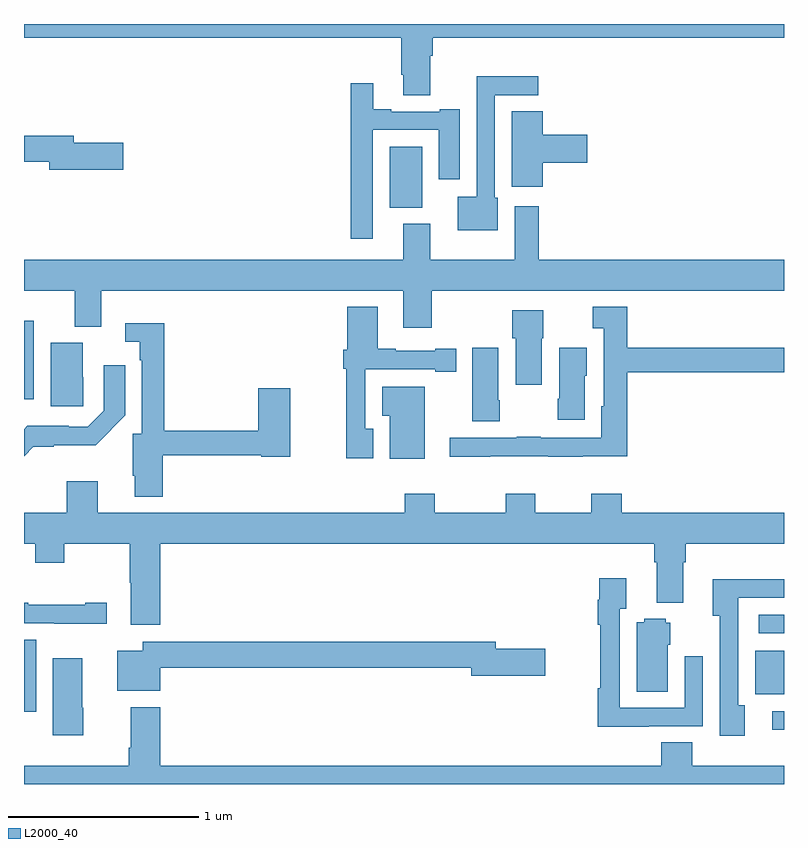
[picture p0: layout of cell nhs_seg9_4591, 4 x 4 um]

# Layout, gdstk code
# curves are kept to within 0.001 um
import gdstk
lib = gdstk.Library(unit=1e-6, precision=1e-09)
def R(c, l, rs):  # rectangles x0, y0, x1, y1
    for r in rs: c.add(gdstk.rectangle(r[:2], r[2:], *l))
def P(c, l, *ps):  # polygons
    for p in ps: c.add(gdstk.Polygon(p, *l))
L2000_40 = (2000, 40)

nhs_seg9_4591 = lib.new_cell('nhs_seg9_4591')
R(nhs_seg9_4591, L2000_40, [(378.939,1184.786,379,1184.883), (375,1184.88,375.064,1185.26), (378.848,1184.973,379,1185.201), (378.867,1185.294,379,1185.39), (375,1186.524,375.052,1186.939), (376.925,1187.534,377.095,1187.854)])
P(nhs_seg9_4591, L2000_40, [(377.137,1188.332),(377.15,1188.332),(377.15,1188.428),(379,1188.428),(379,1188.5),(375,1188.5),(375,1188.428),(376.985,1188.428),(376.985,1188.232),(376.997,1188.232),(376.997,1188.124),(377.137,1188.124)],
  [(377.494,1187.586),(377.478,1187.586),(377.478,1188.126),(377.707,1188.126),(377.707,1188.224),(377.382,1188.224),(377.382,1187.59),(377.282,1187.59),(377.282,1187.414),(377.494,1187.414)],
  [(376.836,1187.943),(377.183,1187.943),(377.183,1187.682),(377.293,1187.682),(377.293,1188.052),(377.189,1188.052),(377.189,1188.039),(376.933,1188.039),(376.933,1188.052),(376.837,1188.052),(376.837,1188.187),(376.72,1188.187),(376.72,1187.37),(376.836,1187.37)],
  [(377.729,1187.771),(377.965,1187.771),(377.965,1187.918),(377.729,1187.918),(377.729,1188.041),(377.567,1188.041),(377.567,1187.643),(377.729,1187.643)],
  [(375.523,1187.876),(375.262,1187.876),(375.262,1187.912),(375,1187.912),(375,1187.776),(375.134,1187.776),(375.134,1187.734),(375.523,1187.734)],
  [(377.145,1187.096),(379,1187.096),(379,1187.26),(377.708,1187.26),(377.708,1187.542),(377.582,1187.542),(377.582,1187.26),(377.137,1187.26),(377.137,1187.449),(376.997,1187.449),(376.997,1187.26),(375,1187.26),(375,1187.096),(375.266,1187.096),(375.266,1186.907),(375.406,1186.907),(375.406,1187.096),(376.997,1187.096),(376.997,1186.902),(377.145,1186.902)],
  [(377.453,1186.226),(377.759,1186.226),(377.759,1186.222),(377.942,1186.222),(377.942,1186.226),(378.176,1186.226),(378.176,1186.666),(379,1186.666),(379,1186.795),(378.176,1186.795),(378.176,1187.011),(377.994,1187.011),(377.994,1186.898),(378.05,1186.898),(378.05,1186.488),(378.038,1186.488),(378.038,1186.323),(377.72,1186.323),(377.72,1186.328),(377.593,1186.328),(377.593,1186.323),(377.241,1186.323),(377.241,1186.222),(377.453,1186.222)],
  [(376.837,1186.371),(376.797,1186.371),(376.797,1186.683),(377.165,1186.683),(377.165,1186.671),(377.275,1186.671),(377.275,1186.792),(377.165,1186.792),(377.165,1186.779),(376.957,1186.779),(376.957,1186.792),(376.861,1186.792),(376.861,1187.011),(376.7,1187.011),(376.7,1186.786),(376.681,1186.786),(376.681,1186.686),(376.696,1186.686),(376.696,1186.215),(376.837,1186.215)],
  [(377.725,1186.845),(377.734,1186.845),(377.734,1186.993),(377.569,1186.993),(377.569,1186.845),(377.588,1186.845),(377.588,1186.602),(377.725,1186.602)],
  [(375.731,1186.23),(376.248,1186.23),(376.248,1186.222),(376.402,1186.222),(376.402,1186.582),(376.232,1186.582),(376.232,1186.358),(375.737,1186.358),(375.737,1186.924),(375.534,1186.924),(375.534,1186.827),(375.609,1186.827),(375.609,1186.73),(375.621,1186.73),(375.621,1186.344),(375.572,1186.344),(375.572,1186.123),(375.584,1186.123),(375.584,1186.013),(375.731,1186.013)],
  [(375.312,1186.641),(375.31,1186.641),(375.31,1186.822),(375.14,1186.822),(375.14,1186.488),(375.312,1186.488)],
  [(377.95,1186.65),(377.962,1186.65),(377.962,1186.795),(377.816,1186.795),(377.816,1186.528),(377.809,1186.528),(377.809,1186.416),(377.95,1186.416)],
  [(377.505,1186.519),(377.497,1186.519),(377.497,1186.795),(377.36,1186.795),(377.36,1186.408),(377.505,1186.408)],
  [(375.049,1186.275),(375.157,1186.275),(375.157,1186.283),(375.377,1186.283),(375.532,1186.44),(375.532,1186.705),(375.42,1186.705),(375.42,1186.464),(375.336,1186.38),(375.236,1186.38),(375.236,1186.385),(375.017,1186.385),(375,1186.368),(375,1186.226)],
  [(377.11,1186.591),(376.886,1186.591),(376.886,1186.439),(376.925,1186.439),(376.925,1186.211),(377.11,1186.211)],
  [(378.317,1185.668),(378.329,1185.668),(378.329,1185.455),(378.469,1185.455),(378.469,1185.668),(378.482,1185.668),(378.482,1185.764),(379,1185.764),(379,1185.928),(378.146,1185.928),(378.146,1186.027),(377.986,1186.027),(377.986,1185.928),(377.691,1185.928),(377.691,1186.027),(377.536,1186.027),(377.536,1185.928),(377.163,1185.928),(377.163,1186.027),(377.003,1186.027),(377.003,1185.928),(375.388,1185.928),(375.388,1186.093),(375.224,1186.093),(375.224,1185.928),(375,1185.928),(375,1185.764),(375.058,1185.764),(375.058,1185.665),(375.213,1185.665),(375.213,1185.764),(375.556,1185.764),(375.556,1185.56),(375.563,1185.56),(375.563,1185.339),(375.716,1185.339),(375.716,1185.764),(378.317,1185.764)],
  [(378.289,1184.805),(378.573,1184.805),(378.573,1185.172),(378.477,1185.172),(378.477,1184.901),(378.135,1184.901),(378.135,1185.422),(378.169,1185.422),(378.169,1185.583),(378.027,1185.583),(378.027,1185.47),(378.019,1185.47),(378.019,1185.338),(378.034,1185.338),(378.034,1185.005),(378.019,1185.005),(378.019,1184.801),(378.289,1184.801)],
  [(378.793,1184.914),(378.759,1184.914),(378.759,1185.48),(379,1185.48),(379,1185.578),(378.626,1185.578),(378.626,1185.386),(378.663,1185.386),(378.663,1184.754),(378.793,1184.754)],
  [(375.436,1185.454),(375.323,1185.454),(375.323,1185.444),(375.023,1185.444),(375.023,1185.454),(375,1185.454),(375,1185.345),(375.16,1185.345),(375.16,1185.344),(375.436,1185.344)],
  [(378.388,1185.234),(378.4,1185.234),(378.4,1185.348),(378.378,1185.348),(378.378,1185.37),(378.264,1185.37),(378.264,1185.352),(378.224,1185.352),(378.224,1184.986),(378.388,1184.986)],
  [(375.718,1185.112),(377.354,1185.112),(377.354,1185.07),(377.743,1185.07),(377.743,1185.212),(377.482,1185.212),(377.482,1185.248),(375.624,1185.248),(375.624,1185.202),(375.491,1185.202),(375.491,1184.99),(375.718,1184.99)],
  [(375.313,1184.901),(375.307,1184.901),(375.307,1185.163),(375.152,1185.163),(375.152,1184.757),(375.313,1184.757)],
  [(379,1184.596),(378.518,1184.596),(378.518,1184.72),(378.353,1184.72),(378.353,1184.596),(375.716,1184.596),(375.716,1184.905),(375.563,1184.905),(375.563,1184.692),(375.551,1184.692),(375.551,1184.596),(375,1184.596),(375,1184.5),(379,1184.5)])

lib.write_gds('nhs_seg9_4591.gds')
